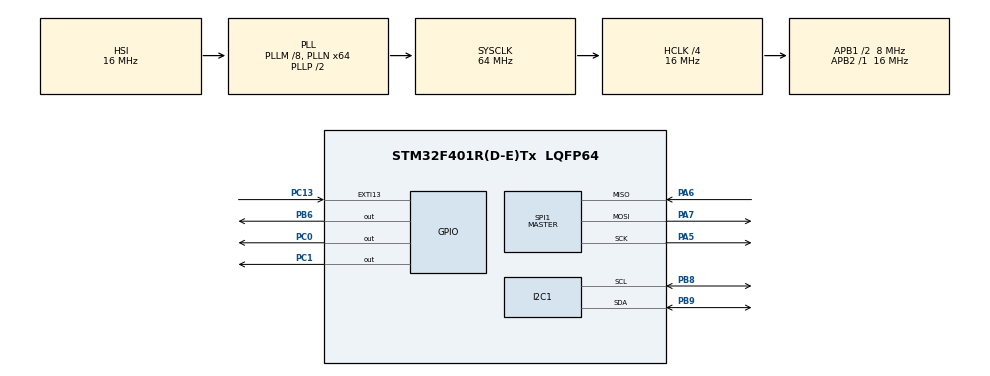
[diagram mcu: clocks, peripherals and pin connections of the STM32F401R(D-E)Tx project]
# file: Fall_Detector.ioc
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Mcu.Family=STM32F4
Mcu.Name=STM32F401R(D-E)Tx
Mcu.Package=LQFP64
NVIC.EXTI15_10_IRQn=true\:0\:0\:false\:false\:true\:true\:true\:true
NVIC.PriorityGroup=NVIC_PRIORITYGROUP_4
PA5.Mode=Full_Duplex_Master
PA5.Signal=SPI1_SCK
PA6.Mode=Full_Duplex_Master
PA6.Signal=SPI1_MISO
PA7.Mode=Full_Duplex_Master
PA7.Signal=SPI1_MOSI
PB6.Signal=GPIO_Output
PB8.Mode=I2C
PB8.Signal=I2C1_SCL
PB9.Mode=I2C
PB9.Signal=I2C1_SDA
PC0.Signal=GPIO_Output
PC1.Signal=GPIO_Output
PC13-ANTI_TAMP.Signal=GPXTI13
ProjectManager.HeapSize=0x200
ProjectManager.StackSize=0x400
ProjectManager.TargetToolchain=STM32CubeIDE
RCC.48MHZClocksFreq_Value=32000000
RCC.AHBCLKDivider=RCC_SYSCLK_DIV4
RCC.AHBFreq_Value=16000000
RCC.APB1CLKDivider=RCC_HCLK_DIV2
RCC.APB1Freq_Value=8000000
RCC.APB1TimFreq_Value=16000000
RCC.APB2Freq_Value=16000000
RCC.APB2TimFreq_Value=16000000
RCC.CortexFreq_Value=16000000
RCC.HCLKFreq_Value=16000000
RCC.HSE_VALUE=25000000
RCC.HSI_VALUE=16000000
RCC.LSE_VALUE=32768
RCC.PLLM=8
RCC.PLLN=64
RCC.SYSCLKFreq_VALUE=64000000
RCC.SYSCLKSource=RCC_SYSCLKSOURCE_PLLCLK
RCC.VCOOutputFreq_Value=128000000
SPI1.CLKPhase=SPI_PHASE_2EDGE
SPI1.CLKPolarity=SPI_POLARITY_HIGH
SPI1.Direction=SPI_DIRECTION_2LINES
SPI1.Mode=SPI_MODE_MASTER
SPI1.VirtualType=VM_MASTER
board=custom

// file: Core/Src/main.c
/* USER CODE BEGIN Header */
/**
  ******************************************************************************
  * @file           : main.c
  * @brief          : Main program body
  ******************************************************************************
  * @attention
  *
  * Copyright (c) 2023 STMicroelectronics.
  * All rights reserved.
  *
  * This software is licensed under terms that can be found in the LICENSE file
  * in the root directory of this software component.
  * If no LICENSE file comes with this software, it is provided AS-IS.
  *
  ******************************************************************************
  */
/* USER CODE END Header */
#include "main.h"
#include "ssd1306.h"
#include <stdio.h>
#include "ADXL.h"
#include <stdlib.h>
#include <math.h>
int impactIndex = 0;

I2C_HandleTypeDef hi2c1;

SPI_HandleTypeDef hspi1;

/* USER CODE BEGIN PV */

static ADXL_InitTypeDef InitInf = {.SPIMode = 0, .Range = 3, .Resolution = 1, .Rate = 8, .Justify = 0};

/* USER CODE END PV */

void SystemClock_Config(void);
static void MX_GPIO_Init(void);
static void MX_I2C1_Init(void);
static void MX_SPI1_Init(void);

int main(void)
{

  /* MCU Configuration--------------------------------------------------------*/

  /* Reset of all peripherals, Initializes the Flash interface and the Systick. */
  HAL_Init();

  /* Configure the system clock */
  SystemClock_Config();

  /* Initialize all configured peripherals */
  MX_GPIO_Init();
  MX_I2C1_Init();
  MX_SPI1_Init();
  /* USER CODE BEGIN 2 */
  ADXL_Init(&InitInf);
  ssd1306_Init();
  ssd1306_Fill(0x00);
  ssd1306_UpdateScreen ();
  ssd1306_SetCursor(5,5);
  ssd1306_WriteString("Testing",Font_11x18,0x01);
  ssd1306_UpdateScreen();
  /* USER CODE END 2 */

  /* Infinite loop */
  /* USER CODE BEGIN WHILE */
  char oledOut[50];
  int* ImpactList = 0;
  int size = 1;
  int impact = 0;
  while (1)
  {

	int16_t data[3] = {0,0,0};
	ADXL_getAccel(data,OUTPUT_SIGNED);

	//sprintf(oledOut, "%d,%d,%d", data[0]/255,data[1]/255,data[2]/255);

	ssd1306_Fill(0x00);
	ssd1306_SetCursor(5,5);
	int temp = (int)sqrt((data[0]*data[0]+data[1]*data[1]+data[2]*data[2])/255/255);
	if(temp > 4){
		impact = 1;
		ImpactList = realloc(ImpactList, sizeof(int)*size);
		ImpactList[size-1] = temp;
		size++;
	}
	if(impact == 0){
		sprintf(oledOut, "X:%d.%d,Y:%d.%d", data[0]*100/255/100,abs(data[0]*100/255%100),data[1]*100/255/100,abs(data[1]*100/255%100));
		ssd1306_WriteString(oledOut,Font_7x10,0x01);
		ssd1306_SetCursor(5,15);
		sprintf(oledOut, "Z:%d.%d, Mag:%d.%d",data[2]*100/255/100,abs(data[2]*100/255%100), temp*100/100, abs(temp*100/255%100));
		ssd1306_WriteString(oledOut,Font_7x10,0x01);
		HAL_GPIO_WritePin(GPIOC,GPIO_PIN_1, GPIO_PIN_SET);
		HAL_GPIO_WritePin(GPIOC, GPIO_PIN_0, GPIO_PIN_RESET);
		ssd1306_UpdateScreen();
	}else{
		sprintf(oledOut, "IMPACT DETECTED");
		ssd1306_WriteString(oledOut,Font_7x10,0x01);
		HAL_GPIO_WritePin(GPIOC,GPIO_PIN_1, GPIO_PIN_RESET);
		HAL_GPIO_WritePin(GPIOC, GPIO_PIN_0, GPIO_PIN_SET);
		ssd1306_SetCursor(5,15);
		if(impactIndex >= size-1){
			impactIndex = 0;
		}
		sprintf(oledOut, "#%d, Mag:%d.%d m/s2", impactIndex+1, ImpactList[impactIndex]*100/100, abs(ImpactList[impactIndex]*100/255%100));
		ssd1306_WriteString(oledOut,Font_7x10,0x01);
		ssd1306_UpdateScreen();
	}
    /* USER CODE END WHILE */

  }
}

void SystemClock_Config(void)
{
  RCC_OscInitTypeDef RCC_OscInitStruct = {0};
  RCC_ClkInitTypeDef RCC_ClkInitStruct = {0};

  /** Configure the main internal regulator output voltage
  */
  __HAL_RCC_PWR_CLK_ENABLE();
  __HAL_PWR_VOLTAGESCALING_CONFIG(PWR_REGULATOR_VOLTAGE_SCALE2);

  /** Initializes the RCC Oscillators according to the specified parameters
  * in the RCC_OscInitTypeDef structure.
  */
  RCC_OscInitStruct.OscillatorType = RCC_OSCILLATORTYPE_HSI;
  RCC_OscInitStruct.HSIState = RCC_HSI_ON;
  RCC_OscInitStruct.HSICalibrationValue = RCC_HSICALIBRATION_DEFAULT;
  RCC_OscInitStruct.PLL.PLLState = RCC_PLL_ON;
  RCC_OscInitStruct.PLL.PLLSource = RCC_PLLSOURCE_HSI;
  RCC_OscInitStruct.PLL.PLLM = 8;
  RCC_OscInitStruct.PLL.PLLN = 64;
  RCC_OscInitStruct.PLL.PLLP = RCC_PLLP_DIV2;
  RCC_OscInitStruct.PLL.PLLQ = 4;
  if (HAL_RCC_OscConfig(&RCC_OscInitStruct) != HAL_OK)
  {
    Error_Handler();
  }

  /** Initializes the CPU, AHB and APB buses clocks
  */
  RCC_ClkInitStruct.ClockType = RCC_CLOCKTYPE_HCLK|RCC_CLOCKTYPE_SYSCLK
                              |RCC_CLOCKTYPE_PCLK1|RCC_CLOCKTYPE_PCLK2;
  RCC_ClkInitStruct.SYSCLKSource = RCC_SYSCLKSOURCE_PLLCLK;
  RCC_ClkInitStruct.AHBCLKDivider = RCC_SYSCLK_DIV4;
  RCC_ClkInitStruct.APB1CLKDivider = RCC_HCLK_DIV2;
  RCC_ClkInitStruct.APB2CLKDivider = RCC_HCLK_DIV1;

  if (HAL_RCC_ClockConfig(&RCC_ClkInitStruct, FLASH_LATENCY_0) != HAL_OK)
  {
    Error_Handler();
  }
}

static void MX_I2C1_Init(void)
{

  hi2c1.Instance = I2C1;
  hi2c1.Init.ClockSpeed = 100000;
  hi2c1.Init.DutyCycle = I2C_DUTYCYCLE_2;
  hi2c1.Init.OwnAddress1 = 0;
  hi2c1.Init.AddressingMode = I2C_ADDRESSINGMODE_7BIT;
  hi2c1.Init.DualAddressMode = I2C_DUALADDRESS_DISABLE;
  hi2c1.Init.OwnAddress2 = 0;
  hi2c1.Init.GeneralCallMode = I2C_GENERALCALL_DISABLE;
  hi2c1.Init.NoStretchMode = I2C_NOSTRETCH_DISABLE;
  if (HAL_I2C_Init(&hi2c1) != HAL_OK)
  {
    Error_Handler();
  }

}

static void MX_SPI1_Init(void)
{

  /* SPI1 parameter configuration*/
  hspi1.Instance = SPI1;
  hspi1.Init.Mode = SPI_MODE_MASTER;
  hspi1.Init.Direction = SPI_DIRECTION_2LINES;
  hspi1.Init.DataSize = SPI_DATASIZE_8BIT;
  hspi1.Init.CLKPolarity = SPI_POLARITY_HIGH;
  hspi1.Init.CLKPhase = SPI_PHASE_2EDGE;
  hspi1.Init.NSS = SPI_NSS_SOFT;
  hspi1.Init.BaudRatePrescaler = SPI_BAUDRATEPRESCALER_2;
  hspi1.Init.FirstBit = SPI_FIRSTBIT_MSB;
  hspi1.Init.TIMode = SPI_TIMODE_DISABLE;
  hspi1.Init.CRCCalculation = SPI_CRCCALCULATION_DISABLE;
  hspi1.Init.CRCPolynomial = 10;
  if (HAL_SPI_Init(&hspi1) != HAL_OK)
  {
    Error_Handler();
  }

}

static void MX_GPIO_Init(void)
{
  GPIO_InitTypeDef GPIO_InitStruct = {0};

  /* GPIO Ports Clock Enable */
  __HAL_RCC_GPIOC_CLK_ENABLE();
  __HAL_RCC_GPIOA_CLK_ENABLE();
  __HAL_RCC_GPIOB_CLK_ENABLE();

  /*Configure GPIO pin Output Level */
  HAL_GPIO_WritePin(GPIOC, GPIO_PIN_0|GPIO_PIN_1, GPIO_PIN_RESET);

  /*Configure GPIO pin Output Level */
  HAL_GPIO_WritePin(GPIOB, GPIO_PIN_6, GPIO_PIN_RESET);

  /*Configure GPIO pin : PC13 */
  GPIO_InitStruct.Pin = GPIO_PIN_13;
  GPIO_InitStruct.Mode = GPIO_MODE_IT_RISING;
  GPIO_InitStruct.Pull = GPIO_NOPULL;
  HAL_GPIO_Init(GPIOC, &GPIO_InitStruct);

  /*Configure GPIO pins : PC0 PC1 */
  GPIO_InitStruct.Pin = GPIO_PIN_0|GPIO_PIN_1;
  GPIO_InitStruct.Mode = GPIO_MODE_OUTPUT_PP;
  GPIO_InitStruct.Pull = GPIO_NOPULL;
  GPIO_InitStruct.Speed = GPIO_SPEED_FREQ_LOW;
  HAL_GPIO_Init(GPIOC, &GPIO_InitStruct);

  /*Configure GPIO pin : PB6 */
  GPIO_InitStruct.Pin = GPIO_PIN_6;
  GPIO_InitStruct.Mode = GPIO_MODE_OUTPUT_PP;
  GPIO_InitStruct.Pull = GPIO_NOPULL;
  GPIO_InitStruct.Speed = GPIO_SPEED_FREQ_LOW;
  HAL_GPIO_Init(GPIOB, &GPIO_InitStruct);

  /* EXTI interrupt init*/
  HAL_NVIC_SetPriority(EXTI15_10_IRQn, 0, 0);
  HAL_NVIC_EnableIRQ(EXTI15_10_IRQn);

}

void Error_Handler(void)
{
  __disable_irq();
  while (1)
  {
  }
}
